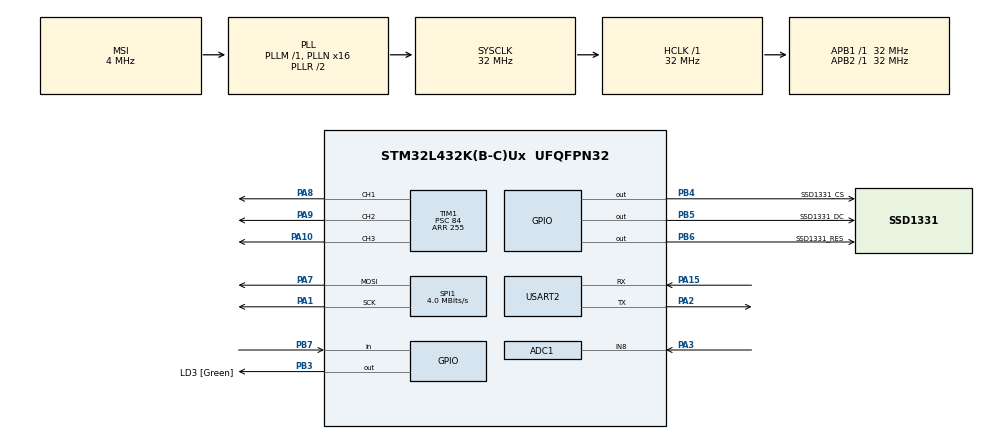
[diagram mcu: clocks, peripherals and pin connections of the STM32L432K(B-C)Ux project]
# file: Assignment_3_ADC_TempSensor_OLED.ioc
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ADC1.Channel-2\#ChannelRegularConversion=ADC_CHANNEL_8
ADC1.NbrOfConversionFlag=1
ADC1.OffsetNumber-2\#ChannelRegularConversion=ADC_OFFSET_NONE
ADC1.Rank-2\#ChannelRegularConversion=1
ADC1.SamplingTime-2\#ChannelRegularConversion=ADC_SAMPLETIME_2CYCLES_5
ADC1.master=1
Mcu.Family=STM32L4
Mcu.Name=STM32L432K(B-C)Ux
Mcu.Package=UFQFPN32
NVIC.PriorityGroup=NVIC_PRIORITYGROUP_4
PA0.Mode=HSE-External-Clock-Source-for-LittleOrca
PA0.Signal=RCC_CK_IN
PA1.Mode=TX_Only_Simplex_Unidirect_Master
PA1.Signal=SPI1_SCK
PA10.Signal=S_TIM1_CH3
PA15\ (JTDI).Mode=Asynchronous
PA15\ (JTDI).Signal=USART2_RX
PA2.Mode=Asynchronous
PA2.Signal=USART2_TX
PA3.Signal=ADCx_IN8
PA7.Mode=TX_Only_Simplex_Unidirect_Master
PA7.Signal=SPI1_MOSI
PA8.Signal=S_TIM1_CH1
PA9.Signal=S_TIM1_CH2
PB3\ (JTDO-TRACESWO).GPIO_Label=LD3 [Green]
PB3\ (JTDO-TRACESWO).Signal=GPIO_Output
PB4\ (NJTRST).GPIO_Label=SSD1331_CS
PB4\ (NJTRST).Signal=GPIO_Output
PB5.GPIO_Label=SSD1331_DC
PB5.Signal=GPIO_Output
PB6.GPIO_Label=SSD1331_RES
PB6.Signal=GPIO_Output
PB7.GPIO_PuPd=GPIO_PULLUP
PB7.Signal=GPIO_Input
PC14-OSC32_IN\ (PC14).Mode=LSE-External-Oscillator
PC14-OSC32_IN\ (PC14).Signal=RCC_OSC32_IN
PC15-OSC32_OUT\ (PC15).Mode=LSE-External-Oscillator
PC15-OSC32_OUT\ (PC15).Signal=RCC_OSC32_OUT
ProjectManager.HeapSize=0x200
ProjectManager.StackSize=0x400
ProjectManager.TargetToolchain=STM32CubeIDE
RCC.ADCFreq_Value=32000000
RCC.AHBFreq_Value=32000000
RCC.APB1Freq_Value=32000000
RCC.APB1TimFreq_Value=32000000
RCC.APB2Freq_Value=32000000
RCC.APB2TimFreq_Value=32000000
RCC.CortexFreq_Value=32000000
RCC.HCLKFreq_Value=32000000
RCC.HSE_VALUE=8000000
RCC.HSI16_VALUE=16000000
RCC.HSI48_VALUE=48000000
RCC.HSI_VALUE=16000000
RCC.MSI_VALUE=4000000
RCC.PLLMUL=RCC_PLLMUL_4
RCC.PLLN=16
RCC.PLLSAI1N=16
RCC.SYSCLKFreq_VALUE=32000000
RCC.SYSCLKSource=RCC_SYSCLKSOURCE_PLLCLK
RCC.USBFreq_Value=32000000
RCC.VCOOutputFreq_Value=64000000
SH.ADCx_IN8.0=ADC1_IN8,IN8-Single-Ended
SH.S_TIM1_CH1.0=TIM1_CH1,PWM Generation1 CH1
SH.S_TIM1_CH2.0=TIM1_CH2,PWM Generation2 CH2
SH.S_TIM1_CH3.0=TIM1_CH3,PWM Generation3 CH3
SPI1.BaudRatePrescaler=SPI_BAUDRATEPRESCALER_8
SPI1.CalculateBaudRate=4.0 MBits/s
SPI1.DataSize=SPI_DATASIZE_8BIT
SPI1.Direction=SPI_DIRECTION_2LINES
SPI1.Mode=SPI_MODE_MASTER
SPI1.VirtualType=VM_MASTER
TIM1.Channel-PWM\ Generation1\ CH1=TIM_CHANNEL_1
TIM1.Channel-PWM\ Generation2\ CH2=TIM_CHANNEL_2
TIM1.Channel-PWM\ Generation3\ CH3=TIM_CHANNEL_3
TIM1.Period=255
TIM1.Prescaler=84
USART2.VirtualMode-Asynchronous=VM_ASYNC
VP_TIM1_VS_ClockSourceINT.Mode=Internal
board=NUCLEO-L432KC

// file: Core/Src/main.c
/* USER CODE BEGIN Header */
/** FILE         : main.c
 PROJECT       : Assignment_3_ADC_TempSensor_OLED
 PROGRAMMER    : Bishal Kafle
 FIRST VERSION : 11/17/2023
 DESCRIPTION   : Shows the temperature on OLED display using MCP9700 Temp-Sensor.
 Extra-Feature : Updates the temperature every 1 minutes time interval normally but there's consist of a button, when pressed,
 update/refresh the temperature reading and display in OLED.

 Switches are assigned as follows
 note: these pins are set in the debounceInit functions and do not need to be configured in cube
 PA8			PA9			PA10			PA3			PB7
 TIM1_CHN1		TIM1_CHN2	TIM1_CHN3		ADC1_IN8	PushButton Input

 /**
 ******************************************************************************
 * @file           : main.c
 * @brief          : Main program body
 ******************************************************************************
 * @attention
 *
 * Copyright (c) 2023 STMicroelectronics.
 * All rights reserved.
 *
 * This software is licensed under terms that can be found in the LICENSE file
 * in the root directory of this software component.
 * If no LICENSE file comes with this software, it is provided AS-IS.
 *
 ******************************************************************************
 */
/* USER CODE END Header */
#include "main.h"

/* USER CODE BEGIN Includes */
#include "string.h"
#include "stdio.h"
#include "fonts.h"
#include "ssd1331.h"
#include "logo.h"
#include "debounce.h"

/* USER CODE END Includes */

/* USER CODE BEGIN PD */
#define RED 255, 0, 0			//defining color red(r, g, b) value
#define ORANGE 255, 125, 0		//defining color orange
#define YELLOW 255, 255, 0		//defining color yellow
#define BLUE 0, 0, 255			//defining color blue
#define WHITE 255, 255, 255		//defining color white

/* USER CODE END PD */

ADC_HandleTypeDef hadc1;

SPI_HandleTypeDef hspi1;

TIM_HandleTypeDef htim1;

UART_HandleTypeDef huart2;

/* USER CODE BEGIN PV */

// Defining a structure to represent Temperature data
struct Temperature {
	float adcPinValue;
	float temp;
	char msg[20];
};

/* USER CODE END PV */

void SystemClock_Config(void);
static void MX_GPIO_Init(void);
static void MX_ADC1_Init(void);
static void MX_TIM1_Init(void);
static void MX_SPI1_Init(void);
static void MX_USART2_UART_Init(void);
/* USER CODE BEGIN PFP */
void rgbColor(uint8_t red, uint8_t green, uint8_t blue);
float tempCalibration(float raw);
void readTemperature(struct Temperature *data);
void RGB_LED(struct Temperature *data);
void displayContent(struct Temperature *data);
void refresh(struct Temperature *data);

/* USER CODE END PFP */

/* USER CODE BEGIN 0 */

// Sets RGB color values for LED based on temperature range
void rgbColor(uint8_t red_value, uint8_t green_value, uint8_t blue_value) {
	htim1.Instance->CCR1 = red_value;
	htim1.Instance->CCR2 = green_value;
	htim1.Instance->CCR3 = blue_value;
}

// Calibrates raw ADC value to temperature in Celsius
float tempCalibration(float raw) {
	float tempCelcius = ((3.3 / 4095 * raw * 1000) - 500) / 10;
	return tempCelcius;
}

// Refresh the display and update data
void refresh(struct Temperature *data) {
	ssd1331_clear_screen(BLACK);
	ssd1331_display_string(15, 20, "Refreshing", FONT_1206, GREY);
	HAL_Delay(100);
	ssd1331_display_string(40, 30, ".", FONT_1206, GREY);
	HAL_Delay(200);
	ssd1331_display_string(45, 30, ".", FONT_1206, GREY);
	HAL_Delay(300);
	ssd1331_display_string(50, 30, ".", FONT_1206, GREY);
	displayContent(data);
}

// Read temperature, update LED color, and refresh display
void readTemperature(struct Temperature *data) {
	uint8_t buttonState = 0;
	uint32_t lastUpdateTime = HAL_GetTick();
	uint32_t updateInterval = 60000; 			// 1 minute in milliseconds
	uint32_t immediateUpdateDelay = 1;		 	// 1 milliseconds

	// Start ADC calibration
	if (HAL_ADCEx_Calibration_Start(&hadc1, ADC_SINGLE_ENDED) != HAL_OK) {
		/* Calibration Error */
		Error_Handler();
	}

	while (1) {
		// Start ADC conversion
		if (HAL_ADC_Start(&hadc1) != HAL_OK) {
			/* Start Conversation Error */
			Error_Handler();
		}

		if (HAL_ADC_PollForConversion(&hadc1, 1) != HAL_OK) {
			/* End Of Conversion flag not set on time */
			Error_Handler();
		} else {
			/* ADC conversion completed */
			//Get the converted value of the regular channel
			data->adcPinValue = HAL_ADC_GetValue(&hadc1);
			data->temp = tempCalibration(data->adcPinValue);
			HAL_ADC_Stop(&hadc1);

			// Check the push button status
			buttonState = deBounceReadPin(7, 'B', 1);

			if (buttonState == GPIO_PIN_RESET) {
				// Button is pressed, turn on LD3_PIN
				HAL_GPIO_WritePin(GPIOB, LD3_Pin, GPIO_PIN_SET);
				refresh(data);
				RGB_LED(data);
				lastUpdateTime = HAL_GetTick() - immediateUpdateDelay; // Set the last update time to force immediate update

			} else {
				// Button is not pressed, turn off LD3_PIN
				HAL_GPIO_WritePin(GPIOB, LD3_Pin, GPIO_PIN_RESET);
			}

			// Check if it's time to update
			if ((HAL_GetTick() - lastUpdateTime) >= updateInterval) {
				displayContent(data);
				RGB_LED(data);
				lastUpdateTime = HAL_GetTick(); // Update the last update time
			}
		}
	}
}

// Sets LED color based on temperature range
void RGB_LED(struct Temperature *data) {
	if (data->temp < -15) {
		rgbColor(WHITE);
	} else if (data->temp > -15 && data->temp < 5) {
		rgbColor(BLUE);
	} else if (data->temp > 5.1 && data->temp < 15) {
		rgbColor(YELLOW);
	} else if (data->temp > 15.1 && data->temp < 25) {
		rgbColor(ORANGE);
	} else if (data->temp > 25.1) {
		rgbColor(RED);
	}
}

// Displays content on the OLED screen
void displayContent(struct Temperature *data) {
	ssd1331_clear_screen(BLACK);
	ssd1331_display_string(19, 25, "Press BTN", FONT_1206, GREY);
	ssd1331_display_string(37, 35, "to", FONT_1206, GREY);
	ssd1331_display_string(24, 45, "Refresh", FONT_1206, GREY);
	sprintf(data->msg, "Temp:%.1fC", data->temp);
	ssd1331_display_string(36, 0, data->msg, FONT_1206, GOLDEN);
}

/* USER CODE END 0 */

int main(void) {

	/* MCU Configuration--------------------------------------------------------*/

	/* Reset of all peripherals, Initializes the Flash interface and the Systick. */
	HAL_Init();

	/* Configure the system clock */
	SystemClock_Config();

	/* Initialize all configured peripherals */
	MX_GPIO_Init();
	MX_ADC1_Init();
	MX_TIM1_Init();
	MX_SPI1_Init();
	MX_USART2_UART_Init();
	/* USER CODE BEGIN 2 */
	//Initiates OLED
	ssd1331_init();

	//Printing Error if PWM Generation failed to start
	if (HAL_TIM_PWM_Start(&htim1, TIM_CHANNEL_1) != HAL_OK) {
		printf("Error Channel-1 PWM");
	}
	if (HAL_TIM_PWM_Start(&htim1, TIM_CHANNEL_2) != HAL_OK) {
		printf("Error Channel-2 PWM");
	}
	if (HAL_TIM_PWM_Start(&htim1, TIM_CHANNEL_3) != HAL_OK) {
		printf("Error Channel-3 PWM");
	}

	struct Temperature myData;  // Declaring an instance of struct Temperature

	displayContent(&myData);	// Passing the address of the instance to the function
	readTemperature(&myData); 	// Passing the address of the instance to the function

	/* USER CODE END 2 */

	/* Infinite loop */
	while (1) {

	}
}

void SystemClock_Config(void) {
	RCC_OscInitTypeDef RCC_OscInitStruct = { 0 };
	RCC_ClkInitTypeDef RCC_ClkInitStruct = { 0 };

	/** Configure the main internal regulator output voltage
	 */
	if (HAL_PWREx_ControlVoltageScaling(PWR_REGULATOR_VOLTAGE_SCALE1)
			!= HAL_OK) {
		Error_Handler();
	}

	/** Configure LSE Drive Capability
	 */
	HAL_PWR_EnableBkUpAccess();
	__HAL_RCC_LSEDRIVE_CONFIG(RCC_LSEDRIVE_LOW);

	/** Initializes the RCC Oscillators according to the specified parameters
	 * in the RCC_OscInitTypeDef structure.
	 */
	RCC_OscInitStruct.OscillatorType = RCC_OSCILLATORTYPE_LSE
			| RCC_OSCILLATORTYPE_MSI;
	RCC_OscInitStruct.LSEState = RCC_LSE_ON;
	RCC_OscInitStruct.MSIState = RCC_MSI_ON;
	RCC_OscInitStruct.MSICalibrationValue = 0;
	RCC_OscInitStruct.MSIClockRange = RCC_MSIRANGE_6;
	RCC_OscInitStruct.PLL.PLLState = RCC_PLL_ON;
	RCC_OscInitStruct.PLL.PLLSource = RCC_PLLSOURCE_MSI;
	RCC_OscInitStruct.PLL.PLLM = 1;
	RCC_OscInitStruct.PLL.PLLN = 16;
	RCC_OscInitStruct.PLL.PLLP = RCC_PLLP_DIV7;
	RCC_OscInitStruct.PLL.PLLQ = RCC_PLLQ_DIV2;
	RCC_OscInitStruct.PLL.PLLR = RCC_PLLR_DIV2;
	if (HAL_RCC_OscConfig(&RCC_OscInitStruct) != HAL_OK) {
		Error_Handler();
	}

	/** Initializes the CPU, AHB and APB buses clocks
	 */
	RCC_ClkInitStruct.ClockType = RCC_CLOCKTYPE_HCLK | RCC_CLOCKTYPE_SYSCLK
			| RCC_CLOCKTYPE_PCLK1 | RCC_CLOCKTYPE_PCLK2;
	RCC_ClkInitStruct.SYSCLKSource = RCC_SYSCLKSOURCE_PLLCLK;
	RCC_ClkInitStruct.AHBCLKDivider = RCC_SYSCLK_DIV1;
	RCC_ClkInitStruct.APB1CLKDivider = RCC_HCLK_DIV1;
	RCC_ClkInitStruct.APB2CLKDivider = RCC_HCLK_DIV1;

	if (HAL_RCC_ClockConfig(&RCC_ClkInitStruct, FLASH_LATENCY_1) != HAL_OK) {
		Error_Handler();
	}

	/** Enable MSI Auto calibration
	 */
	HAL_RCCEx_EnableMSIPLLMode();
}

static void MX_ADC1_Init(void) {

	ADC_ChannelConfTypeDef sConfig = { 0 };

	/** Common config
	 */
	hadc1.Instance = ADC1;
	hadc1.Init.ClockPrescaler = ADC_CLOCK_ASYNC_DIV1;
	hadc1.Init.Resolution = ADC_RESOLUTION_12B;
	hadc1.Init.DataAlign = ADC_DATAALIGN_RIGHT;
	hadc1.Init.ScanConvMode = ADC_SCAN_DISABLE;
	hadc1.Init.EOCSelection = ADC_EOC_SINGLE_CONV;
	hadc1.Init.LowPowerAutoWait = DISABLE;
	hadc1.Init.ContinuousConvMode = DISABLE;
	hadc1.Init.NbrOfConversion = 1;
	hadc1.Init.DiscontinuousConvMode = DISABLE;
	hadc1.Init.ExternalTrigConv = ADC_SOFTWARE_START;
	hadc1.Init.ExternalTrigConvEdge = ADC_EXTERNALTRIGCONVEDGE_NONE;
	hadc1.Init.DMAContinuousRequests = DISABLE;
	hadc1.Init.Overrun = ADC_OVR_DATA_PRESERVED;
	hadc1.Init.OversamplingMode = DISABLE;
	if (HAL_ADC_Init(&hadc1) != HAL_OK) {
		Error_Handler();
	}

	/** Configure Regular Channel
	 */
	sConfig.Channel = ADC_CHANNEL_8;
	sConfig.Rank = ADC_REGULAR_RANK_1;
	sConfig.SamplingTime = ADC_SAMPLETIME_2CYCLES_5;
	sConfig.SingleDiff = ADC_SINGLE_ENDED;
	sConfig.OffsetNumber = ADC_OFFSET_NONE;
	sConfig.Offset = 0;
	if (HAL_ADC_ConfigChannel(&hadc1, &sConfig) != HAL_OK) {
		Error_Handler();
	}

}

static void MX_SPI1_Init(void) {

	/* SPI1 parameter configuration*/
	hspi1.Instance = SPI1;
	hspi1.Init.Mode = SPI_MODE_MASTER;
	hspi1.Init.Direction = SPI_DIRECTION_2LINES;
	hspi1.Init.DataSize = SPI_DATASIZE_8BIT;
	hspi1.Init.CLKPolarity = SPI_POLARITY_LOW;
	hspi1.Init.CLKPhase = SPI_PHASE_1EDGE;
	hspi1.Init.NSS = SPI_NSS_SOFT;
	hspi1.Init.BaudRatePrescaler = SPI_BAUDRATEPRESCALER_8;
	hspi1.Init.FirstBit = SPI_FIRSTBIT_MSB;
	hspi1.Init.TIMode = SPI_TIMODE_DISABLE;
	hspi1.Init.CRCCalculation = SPI_CRCCALCULATION_DISABLE;
	hspi1.Init.CRCPolynomial = 7;
	hspi1.Init.CRCLength = SPI_CRC_LENGTH_DATASIZE;
	hspi1.Init.NSSPMode = SPI_NSS_PULSE_ENABLE;
	if (HAL_SPI_Init(&hspi1) != HAL_OK) {
		Error_Handler();
	}

}

static void MX_TIM1_Init(void) {

	TIM_ClockConfigTypeDef sClockSourceConfig = { 0 };
	TIM_MasterConfigTypeDef sMasterConfig = { 0 };
	TIM_OC_InitTypeDef sConfigOC = { 0 };
	TIM_BreakDeadTimeConfigTypeDef sBreakDeadTimeConfig = { 0 };

	htim1.Instance = TIM1;
	htim1.Init.Prescaler = 84;
	htim1.Init.CounterMode = TIM_COUNTERMODE_UP;
	htim1.Init.Period = 255;
	htim1.Init.ClockDivision = TIM_CLOCKDIVISION_DIV1;
	htim1.Init.RepetitionCounter = 0;
	htim1.Init.AutoReloadPreload = TIM_AUTORELOAD_PRELOAD_DISABLE;
	if (HAL_TIM_Base_Init(&htim1) != HAL_OK) {
		Error_Handler();
	}
	sClockSourceConfig.ClockSource = TIM_CLOCKSOURCE_INTERNAL;
	if (HAL_TIM_ConfigClockSource(&htim1, &sClockSourceConfig) != HAL_OK) {
		Error_Handler();
	}
	if (HAL_TIM_PWM_Init(&htim1) != HAL_OK) {
		Error_Handler();
	}
	sMasterConfig.MasterOutputTrigger = TIM_TRGO_RESET;
	sMasterConfig.MasterOutputTrigger2 = TIM_TRGO2_RESET;
	sMasterConfig.MasterSlaveMode = TIM_MASTERSLAVEMODE_DISABLE;
	if (HAL_TIMEx_MasterConfigSynchronization(&htim1, &sMasterConfig)
			!= HAL_OK) {
		Error_Handler();
	}
	sConfigOC.OCMode = TIM_OCMODE_PWM1;
	sConfigOC.Pulse = 0;
	sConfigOC.OCPolarity = TIM_OCPOLARITY_HIGH;
	sConfigOC.OCNPolarity = TIM_OCNPOLARITY_HIGH;
	sConfigOC.OCFastMode = TIM_OCFAST_DISABLE;
	sConfigOC.OCIdleState = TIM_OCIDLESTATE_RESET;
	sConfigOC.OCNIdleState = TIM_OCNIDLESTATE_RESET;
	if (HAL_TIM_PWM_ConfigChannel(&htim1, &sConfigOC, TIM_CHANNEL_1)
			!= HAL_OK) {
		Error_Handler();
	}
	if (HAL_TIM_PWM_ConfigChannel(&htim1, &sConfigOC, TIM_CHANNEL_2)
			!= HAL_OK) {
		Error_Handler();
	}
	if (HAL_TIM_PWM_ConfigChannel(&htim1, &sConfigOC, TIM_CHANNEL_3)
			!= HAL_OK) {
		Error_Handler();
	}
	sBreakDeadTimeConfig.OffStateRunMode = TIM_OSSR_DISABLE;
	sBreakDeadTimeConfig.OffStateIDLEMode = TIM_OSSI_DISABLE;
	sBreakDeadTimeConfig.LockLevel = TIM_LOCKLEVEL_OFF;
	sBreakDeadTimeConfig.DeadTime = 0;
	sBreakDeadTimeConfig.BreakState = TIM_BREAK_DISABLE;
	sBreakDeadTimeConfig.BreakPolarity = TIM_BREAKPOLARITY_HIGH;
	sBreakDeadTimeConfig.BreakFilter = 0;
	sBreakDeadTimeConfig.Break2State = TIM_BREAK2_DISABLE;
	sBreakDeadTimeConfig.Break2Polarity = TIM_BREAK2POLARITY_HIGH;
	sBreakDeadTimeConfig.Break2Filter = 0;
	sBreakDeadTimeConfig.AutomaticOutput = TIM_AUTOMATICOUTPUT_DISABLE;
	if (HAL_TIMEx_ConfigBreakDeadTime(&htim1, &sBreakDeadTimeConfig)
			!= HAL_OK) {
		Error_Handler();
	}
	HAL_TIM_MspPostInit(&htim1);

}

static void MX_USART2_UART_Init(void) {

	huart2.Instance = USART2;
	huart2.Init.BaudRate = 115200;
	huart2.Init.WordLength = UART_WORDLENGTH_8B;
	huart2.Init.StopBits = UART_STOPBITS_1;
	huart2.Init.Parity = UART_PARITY_NONE;
	huart2.Init.Mode = UART_MODE_TX_RX;
	huart2.Init.HwFlowCtl = UART_HWCONTROL_NONE;
	huart2.Init.OverSampling = UART_OVERSAMPLING_16;
	huart2.Init.OneBitSampling = UART_ONE_BIT_SAMPLE_DISABLE;
	huart2.AdvancedInit.AdvFeatureInit = UART_ADVFEATURE_NO_INIT;
	if (HAL_UART_Init(&huart2) != HAL_OK) {
		Error_Handler();
	}

}

static void MX_GPIO_Init(void) {
	GPIO_InitTypeDef GPIO_InitStruct = { 0 };

	/* GPIO Ports Clock Enable */
	__HAL_RCC_GPIOC_CLK_ENABLE();
	__HAL_RCC_GPIOA_CLK_ENABLE();
	__HAL_RCC_GPIOB_CLK_ENABLE();

	/*Configure GPIO pin Output Level */
	HAL_GPIO_WritePin(GPIOB,
			LD3_Pin | SSD1331_CS_Pin | SSD1331_DC_Pin | SSD1331_RES_Pin,
			GPIO_PIN_RESET);

	/*Configure GPIO pins : LD3_Pin SSD1331_CS_Pin SSD1331_DC_Pin SSD1331_RES_Pin */
	GPIO_InitStruct.Pin = LD3_Pin | SSD1331_CS_Pin | SSD1331_DC_Pin
			| SSD1331_RES_Pin;
	GPIO_InitStruct.Mode = GPIO_MODE_OUTPUT_PP;
	GPIO_InitStruct.Pull = GPIO_NOPULL;
	GPIO_InitStruct.Speed = GPIO_SPEED_FREQ_LOW;
	HAL_GPIO_Init(GPIOB, &GPIO_InitStruct);

	/*Configure GPIO pin : PB7 */
	GPIO_InitStruct.Pin = GPIO_PIN_7;
	GPIO_InitStruct.Mode = GPIO_MODE_INPUT;
	GPIO_InitStruct.Pull = GPIO_PULLUP;
	HAL_GPIO_Init(GPIOB, &GPIO_InitStruct);

}

void Error_Handler(void) {
	__disable_irq();
	while (1) {
	}
}
